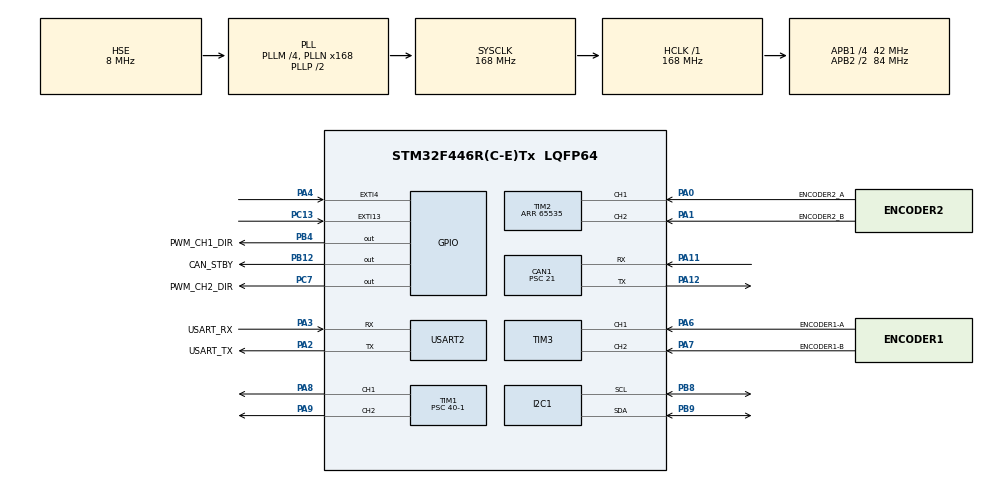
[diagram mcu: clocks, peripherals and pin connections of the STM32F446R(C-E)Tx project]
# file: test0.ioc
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CAN1.BS1=CAN_BS1_14TQ
CAN1.BS2=CAN_BS2_5TQ
CAN1.CalculateBaudRate=100000
CAN1.CalculateTimeBit=10000
CAN1.CalculateTimeQuantum=500.0
CAN1.NART=ENABLE
CAN1.Prescaler=21
I2C1.I2C_Mode=I2C_Fast
Mcu.Family=STM32F4
Mcu.Name=STM32F446R(C-E)Tx
Mcu.Package=LQFP64
NVIC.CAN1_RX0_IRQn=true\:0\:0\:false\:false\:true\:true\:true\:true
NVIC.CAN1_TX_IRQn=true\:0\:0\:false\:false\:true\:true\:true\:true
NVIC.EXTI15_10_IRQn=true\:0\:0\:false\:false\:true\:true\:true\:true
NVIC.EXTI4_IRQn=true\:0\:0\:false\:false\:true\:true\:true\:true
NVIC.PriorityGroup=NVIC_PRIORITYGROUP_0
NVIC.TIM2_IRQn=true\:0\:0\:false\:false\:true\:true\:true\:true
NVIC.TIM3_IRQn=true\:0\:0\:false\:false\:true\:true\:true\:true
PA0-WKUP.GPIO_Label=ENCODER2_A
PA0-WKUP.Signal=S_TIM2_CH1_ETR
PA1.GPIO_Label=ENCODER2_B
PA1.Signal=S_TIM2_CH2
PA11.Mode=CAN_Activate
PA11.Signal=CAN1_RX
PA12.Mode=CAN_Activate
PA12.Signal=CAN1_TX
PA13.GPIO_Label=TMS
PA13.Mode=Serial_Wire
PA13.Signal=SYS_JTMS-SWDIO
PA14.GPIO_Label=TCK
PA14.Mode=Serial_Wire
PA14.Signal=SYS_JTCK-SWCLK
PA2.GPIO_Label=USART_TX
PA2.Mode=Asynchronous
PA2.Signal=USART2_TX
PA3.GPIO_Label=USART_RX
PA3.Mode=Asynchronous
PA3.Signal=USART2_RX
PA4.GPIO_ModeDefaultEXTI=GPIO_MODE_IT_RISING
PA4.Signal=GPXTI4
PA6.GPIO_Label=ENCODER1-A
PA6.Signal=S_TIM3_CH1
PA7.GPIO_Label=ENCODER1-B
PA7.Signal=S_TIM3_CH2
PA8.Signal=S_TIM1_CH1
PA9.Signal=S_TIM1_CH2
PB12.GPIO_Label=CAN_STBY
PB12.GPIO_PuPd=GPIO_PULLUP
PB12.PinState=GPIO_PIN_SET
PB12.Signal=GPIO_Output
PB3.GPIO_Label=SWO
PB3.Signal=SYS_JTDO-SWO
PB4.GPIO_Label=PWM_CH1_DIR
PB4.GPIO_PuPd=GPIO_NOPULL
PB4.GPIO_Speed=GPIO_SPEED_FREQ_VERY_HIGH
PB4.PinState=GPIO_PIN_SET
PB4.Signal=GPIO_Output
PB8.Mode=I2C
PB8.Signal=I2C1_SCL
PB9.Mode=I2C
PB9.Signal=I2C1_SDA
PC13.GPIO_ModeDefaultEXTI=GPIO_MODE_IT_FALLING
PC13.GPIO_PuPd=GPIO_PULLUP
PC13.Signal=GPXTI13
PC14-OSC32_IN.Mode=LSE-External-Oscillator
PC14-OSC32_IN.Signal=RCC_OSC32_IN
PC15-OSC32_OUT.Mode=LSE-External-Oscillator
PC15-OSC32_OUT.Signal=RCC_OSC32_OUT
PC7.GPIO_Label=PWM_CH2_DIR
PC7.GPIO_PuPd=GPIO_NOPULL
PC7.GPIO_Speed=GPIO_SPEED_FREQ_VERY_HIGH
PC7.PinState=GPIO_PIN_SET
PC7.Signal=GPIO_Output
PH0-OSC_IN.Mode=HSE-External-Oscillator
PH0-OSC_IN.Signal=RCC_OSC_IN
PH1-OSC_OUT.Mode=HSE-External-Oscillator
PH1-OSC_OUT.Signal=RCC_OSC_OUT
ProjectManager.HeapSize=0x200
ProjectManager.StackSize=0x400
ProjectManager.TargetToolchain=STM32CubeIDE
RCC.48MHZClocksFreq_Value=84000000
RCC.AHBFreq_Value=168000000
RCC.APB1CLKDivider=RCC_HCLK_DIV4
RCC.APB1Freq_Value=42000000
RCC.APB1TimFreq_Value=84000000
RCC.APB2CLKDivider=RCC_HCLK_DIV2
RCC.APB2Freq_Value=84000000
RCC.APB2TimFreq_Value=168000000
RCC.CortexFreq_Value=168000000
RCC.FLatency-AdvancedSettings=FLASH_LATENCY_5
RCC.HCLKFreq_Value=168000000
RCC.HSE_VALUE=8000000
RCC.HSI_VALUE=16000000
RCC.PLLM=4
RCC.PLLN=168
RCC.PLLSourceVirtual=RCC_PLLSOURCE_HSE
RCC.SYSCLKFreq_VALUE=168000000
RCC.SYSCLKSource=RCC_SYSCLKSOURCE_PLLCLK
RCC.USBFreq_Value=168000000
RCC.VCOOutputFreq_Value=336000000
SH.S_TIM1_CH1.0=TIM1_CH1,PWM Generation1 CH1
SH.S_TIM1_CH2.0=TIM1_CH2,PWM Generation2 CH2
SH.S_TIM2_CH1_ETR.0=TIM2_CH1,Encoder_Interface
SH.S_TIM2_CH2.0=TIM2_CH2,Encoder_Interface
SH.S_TIM3_CH1.0=TIM3_CH1,Encoder_Interface
SH.S_TIM3_CH2.0=TIM3_CH2,Encoder_Interface
TIM1.Channel-PWM\ Generation1\ CH1=TIM_CHANNEL_1
TIM1.Channel-PWM\ Generation2\ CH2=TIM_CHANNEL_2
TIM1.Period=21000-1
TIM1.Prescaler=40-1
TIM1.Pulse-PWM\ Generation1\ CH1=10500-1
TIM1.Pulse-PWM\ Generation2\ CH2=10500-1
TIM2.EncoderMode=TIM_ENCODERMODE_TI1
TIM2.Period=65535
TIM3.EncoderMode=TIM_ENCODERMODE_TI1
TIM3.IC1Polarity=TIM_ICPOLARITY_RISING
TIM3.IC2Polarity=TIM_ICPOLARITY_RISING
USART2.VirtualMode=VM_ASYNC
VP_TIM1_VS_ClockSourceINT.Mode=Internal
board=NUCLEO-F446RE

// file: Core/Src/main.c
/* USER CODE BEGIN Header */
/**
  ******************************************************************************
  * @file           : main.c
  * @brief          : Main program body
  ******************************************************************************
  * @attention
  *
  * Copyright (c) 2022 STMicroelectronics.
  * All rights reserved.
  *
  * This software is licensed under terms that can be found in the LICENSE file
  * in the root directory of this software component.
  * If no LICENSE file comes with this software, it is provided AS-IS.
  *
  ******************************************************************************
  */
/* USER CODE END Header */
#include "main.h"
#include "can.h"
#include "i2c.h"
#include "tim.h"
#include "usart.h"
#include "gpio.h"

/* USER CODE BEGIN Includes */
#include "VL53L1X_api.h"
/* USER CODE END Includes */

/* USER CODE BEGIN PV */
//volatile unsigned int counter0 = 0;
volatile unsigned int counter0 = 0;
volatile unsigned int counter1 = 0;
volatile unsigned int oldCounter0 = 0;
volatile unsigned int oldCounter1 = 0;
volatile unsigned int diff0 = 0;
volatile unsigned int diff1 = 0;
volatile float speed0;
volatile float speed1;
volatile int rnd = 0;

volatile uint8_t can1_rx0_flag = 0;

uint16_t TOF0  = 0x52;
uint16_t TOF1  = 0x54;
uint16_t TOF2  = 0x56;
uint16_t TOF3  = 0x58;
uint16_t TOF4  = 0x5A;
uint16_t TOF5  = 0x5C;
uint16_t TOF6  = 0x5E;
uint16_t TOF7  = 0x60;
uint16_t TOF8  = 0x62;
uint16_t TOF9  = 0x64;
uint16_t TOF10 = 0x66;
uint16_t TOF11 = 0x68;
uint16_t TOF12 = 0x6A;
uint16_t TOF13 = 0x6C;
uint16_t TOF14 = 0x6E;

VL53L1X_Result_t tof0_result;
VL53L1X_Result_t tof1_result;
VL53L1X_Result_t tof2_result;
VL53L1X_Result_t tof3_result;
VL53L1X_Result_t tof4_result;
VL53L1X_Result_t tof5_result;
VL53L1X_Result_t tof6_result;
VL53L1X_Result_t tof7_result;
VL53L1X_Result_t tof8_result;
VL53L1X_Result_t tof9_result;
VL53L1X_Result_t tof10_result;
VL53L1X_Result_t tof11_result;
VL53L1X_Result_t tof12_result;
VL53L1X_Result_t tof13_result;
VL53L1X_Result_t tof14_result;
/* USER CODE END PV */

void SystemClock_Config(void);

/* USER CODE BEGIN 0 */
void setLeftMotorSpeed(int16_t speed) {
	if (speed < 0) {
		HAL_GPIO_WritePin(PWM_CH1_DIR_GPIO_Port, PWM_CH1_DIR_Pin, GPIO_PIN_RESET);
		speed *= -1;
	}
	else {
		HAL_GPIO_WritePin(PWM_CH1_DIR_GPIO_Port, PWM_CH1_DIR_Pin, GPIO_PIN_SET);
	}

	 uint32_t ccr = speed * 4 * 1000;
	 if (ccr > TIM1->ARR) return;
	 TIM1->CCR1 = ccr;
	 //HAL_Delay(50);
}

void setRightMotorSpeed(int16_t speed) {
	if (speed < 0) {
		HAL_GPIO_WritePin(PWM_CH2_DIR_GPIO_Port, PWM_CH2_DIR_Pin, GPIO_PIN_RESET);
		speed *= -1;
	}
	else {
		HAL_GPIO_WritePin(PWM_CH2_DIR_GPIO_Port, PWM_CH2_DIR_Pin, GPIO_PIN_SET);
	}

	 uint32_t ccr = speed * 4 * 1000;
	 if (ccr > TIM1->ARR) return;
	 TIM1->CCR2 = ccr;
	 //HAL_Delay(50);
}

void HAL_TIM_IC_CaptureCallback(TIM_HandleTypeDef *htim)
{
  /* Prevent unused argument(s) compilation warning */
/*
	if (htim == &htim2) {
		counter0 = __HAL_TIM_GET_COUNTER(htim);
	}
	else if (htim == &htim3) {
		counter1 = __HAL_TIM_GET_COUNTER(htim);
	}
*/
  /* NOTE : This function should not be modified, when the callback is needed,
            the HAL_TIM_IC_CaptureCallback could be implemented in the user file
   */
}

int _write(int file, char* p, int len) {
	HAL_UART_Transmit(&huart2, p, len, 16);
	return len;
}
/*
void HAL_GPIO_EXTI_Callback(uint16_t GPIO_Pin)
{
	switch (GPIO_Pin) {
		case GPIO_PIN_0:
			VL53L1X_GetResult(TOF0, &tof0_result);
			VL53L1X_ClearInterrupt(TOF0);
			break;
		case GPIO_PIN_1:
			VL53L1X_GetResult(TOF1, &tof1_result);
			VL53L1X_ClearInterrupt(TOF1);
			break;
		case GPIO_PIN_2:
			VL53L1X_GetResult(TOF2, &tof2_result);
			VL53L1X_ClearInterrupt(TOF2);
			break;
		case GPIO_PIN_3:
			VL53L1X_GetResult(TOF3, &tof3_result);
			VL53L1X_ClearInterrupt(TOF3);
			break;
		case GPIO_PIN_4:
			VL53L1X_GetResult(TOF4, &tof4_result);
			VL53L1X_ClearInterrupt(TOF4);
			break;
		case GPIO_PIN_5:
			VL53L1X_GetResult(TOF5, &tof5_result);
			VL53L1X_ClearInterrupt(TOF5);
			break;
		case GPIO_PIN_6:
			VL53L1X_GetResult(TOF6, &tof6_result);
			VL53L1X_ClearInterrupt(TOF6);
			break;
		case GPIO_PIN_7:
			VL53L1X_GetResult(TOF7, &tof7_result);
			VL53L1X_ClearInterrupt(TOF7);
			break;
		case GPIO_PIN_8:
			VL53L1X_GetResult(TOF8, &tof8_result);
			VL53L1X_ClearInterrupt(TOF8);
			break;
		case GPIO_PIN_9:
			VL53L1X_GetResult(TOF9, &tof9_result);
			VL53L1X_ClearInterrupt(TOF9);
			break;
		case GPIO_PIN_10:
			VL53L1X_GetResult(TOF10, &tof10_result);
			VL53L1X_ClearInterrupt(TOF10);
			break;
		case GPIO_PIN_11:
			VL53L1X_GetResult(TOF11, &tof11_result);
			VL53L1X_ClearInterrupt(TOF11);
			break;
		case GPIO_PIN_12:
			VL53L1X_GetResult(TOF12, &tof12_result);
			VL53L1X_ClearInterrupt(TOF12);
			break;
		case GPIO_PIN_13:
			VL53L1X_GetResult(TOF13, &tof13_result);
			VL53L1X_ClearInterrupt(TOF13);
			break;
		case GPIO_PIN_14:
			VL53L1X_GetResult(TOF14, &tof14_result);
			VL53L1X_ClearInterrupt(TOF14);
			break;
		default:
			break;
	}
}
*/
void HAL_GPIO_EXTI_Callback(uint16_t GPIO_Pin) {
	++rnd;
}
/* USER CODE END 0 */

int main(void)
{

  /* MCU Configuration--------------------------------------------------------*/

  /* Reset of all peripherals, Initializes the Flash interface and the Systick. */
  HAL_Init();

  /* Configure the system clock */
  SystemClock_Config();

  /* Initialize all configured peripherals */
  MX_GPIO_Init();
  MX_USART2_UART_Init();
  MX_TIM1_Init();
  MX_TIM3_Init();
  MX_I2C1_Init();
  MX_TIM2_Init();
  MX_CAN1_Init();
  /* USER CODE BEGIN 2 */
  HAL_TIM_PWM_Start(&htim1, TIM_CHANNEL_1);
  HAL_TIM_PWM_Start(&htim1, TIM_CHANNEL_2);

  HAL_TIM_Encoder_Start_IT(&htim2, TIM_CHANNEL_ALL);
  HAL_TIM_Encoder_Start_IT(&htim3, TIM_CHANNEL_ALL);

  VL53L1X_StartRanging(TOF0);
  /*
  VL53L1X_StartRanging(TOF1);
  VL53L1X_StartRanging(TOF2);
  VL53L1X_StartRanging(TOF3);
  VL53L1X_StartRanging(TOF4);
  VL53L1X_StartRanging(TOF5);
  VL53L1X_StartRanging(TOF6);
  VL53L1X_StartRanging(TOF7);
  VL53L1X_StartRanging(TOF8);
  VL53L1X_StartRanging(TOF9);
  VL53L1X_StartRanging(TOF10);
  VL53L1X_StartRanging(TOF11);
  VL53L1X_StartRanging(TOF12);
  VL53L1X_StartRanging(TOF13);
  VL53L1X_StartRanging(TOF14);
   */
  /* USER CODE END 2 */

  /* Infinite loop */
  /* USER CODE BEGIN WHILE */
  canFilter1.FilterMaskIdHigh = 0x7F3 << 5;
  canFilter1.FilterIdHigh = 0x106 << 5;
  canFilter1.FilterMaskIdLow = 0x7F3 << 5;
  canFilter1.FilterIdLow = 0x106 << 5;
  canFilter1.FilterMode = CAN_FILTERMODE_IDMASK;
  canFilter1.FilterScale = CAN_FILTERSCALE_16BIT;
  canFilter1.FilterFIFOAssignment = CAN_FILTER_FIFO0;
  canFilter1.FilterBank = 0;
  canFilter1.FilterActivation = ENABLE;

  HAL_CAN_ConfigFilter(&hcan1, &canFilter1);
  HAL_CAN_ActivateNotification(&hcan1, CAN_IT_RX_FIFO0_MSG_PENDING);
  HAL_CAN_Start(&hcan1);

  long tick = HAL_GetTick();
  while (1)
  {
	  if (can1_rx0_flag) {
		  can1_rx0_flag = 0;

		  // receive and do something..
		  printf("yes\n");
	  }

	  //HAL_GPIO_TogglePin(PWM_CH1_DIR_GPIO_Port, PWM_CH1_DIR_Pin);
	  //HAL_GPIO_TogglePin(PWM_CH2_DIR_GPIO_Port, PWM_CH2_DIR_Pin);

	  if (HAL_GetTick() - tick > 1000L) {
		  counter0 = __HAL_TIM_GET_COUNTER(&htim2);
		  counter1 = __HAL_TIM_GET_COUNTER(&htim3);

		  if (counter0 > oldCounter0)
		  		diff0 = counter0 - oldCounter0;
		  else
			    diff0 = (65535 - oldCounter0) + counter0;

		  if (counter1 > oldCounter1)
				diff1 = counter1 - oldCounter1;
		  else
			  	diff1 = (65535 - oldCounter1) + counter1;

		  tick = HAL_GetTick();
		  oldCounter0 = __HAL_TIM_GET_COUNTER(&htim2);
		  oldCounter1 = __HAL_TIM_GET_COUNTER(&htim3);

		  speed0 = diff0 / (2048 * 60);
		  speed1 = diff1 / (2048 * 60);
		  //printf("%d %d %d\n", diff0, diff1, rnd);
	  }

	  canTxHeader.StdId = 0x102;
	  canTxHeader.RTR = CAN_RTR_DATA;
	  canTxHeader.IDE = CAN_ID_STD;
	  canTxHeader.DLC = 8;

	  TxMailBox = HAL_CAN_GetTxMailboxesFreeLevel(&hcan1);
	  can1Tx0Data[0] = (diff0 & 0xFF00) >> 8;
	  can1Tx0Data[1] = (diff0 & 0x00FF);
	  can1Tx0Data[2] = (diff1 & 0xFF00) >> 8;
	  can1Tx0Data[3] = (diff1 & 0x00FF);
 	  HAL_CAN_AddTxMessage(&hcan1, &canTxHeader, &can1Tx0Data[0], &TxMailBox);

    /* USER CODE END WHILE */

  }
}

void SystemClock_Config(void)
{
  RCC_OscInitTypeDef RCC_OscInitStruct = {0};
  RCC_ClkInitTypeDef RCC_ClkInitStruct = {0};

  /** Configure the main internal regulator output voltage
  */
  __HAL_RCC_PWR_CLK_ENABLE();
  __HAL_PWR_VOLTAGESCALING_CONFIG(PWR_REGULATOR_VOLTAGE_SCALE1);

  /** Initializes the RCC Oscillators according to the specified parameters
  * in the RCC_OscInitTypeDef structure.
  */
  RCC_OscInitStruct.OscillatorType = RCC_OSCILLATORTYPE_HSE;
  RCC_OscInitStruct.HSEState = RCC_HSE_ON;
  RCC_OscInitStruct.PLL.PLLState = RCC_PLL_ON;
  RCC_OscInitStruct.PLL.PLLSource = RCC_PLLSOURCE_HSE;
  RCC_OscInitStruct.PLL.PLLM = 4;
  RCC_OscInitStruct.PLL.PLLN = 168;
  RCC_OscInitStruct.PLL.PLLP = RCC_PLLP_DIV2;
  RCC_OscInitStruct.PLL.PLLQ = 2;
  RCC_OscInitStruct.PLL.PLLR = 2;
  if (HAL_RCC_OscConfig(&RCC_OscInitStruct) != HAL_OK)
  {
    Error_Handler();
  }

  /** Initializes the CPU, AHB and APB buses clocks
  */
  RCC_ClkInitStruct.ClockType = RCC_CLOCKTYPE_HCLK|RCC_CLOCKTYPE_SYSCLK
                              |RCC_CLOCKTYPE_PCLK1|RCC_CLOCKTYPE_PCLK2;
  RCC_ClkInitStruct.SYSCLKSource = RCC_SYSCLKSOURCE_PLLCLK;
  RCC_ClkInitStruct.AHBCLKDivider = RCC_SYSCLK_DIV1;
  RCC_ClkInitStruct.APB1CLKDivider = RCC_HCLK_DIV4;
  RCC_ClkInitStruct.APB2CLKDivider = RCC_HCLK_DIV2;

  if (HAL_RCC_ClockConfig(&RCC_ClkInitStruct, FLASH_LATENCY_5) != HAL_OK)
  {
    Error_Handler();
  }
}

/* USER CODE BEGIN 4 */
void HAL_CAN_RxFifo0MsgPendingCallback(CAN_HandleTypeDef* hcan) {
	if (hcan->Instance == CAN1) {
		HAL_CAN_GetRxMessage(&hcan1, CAN_RX_FIFO0, &canRxHeader, &can1Rx0Data[0]);
		can1_rx0_flag = 1;
	}
}
/* USER CODE END 4 */

void Error_Handler(void)
{
  __disable_irq();
  while (1)
  {
  }
}
